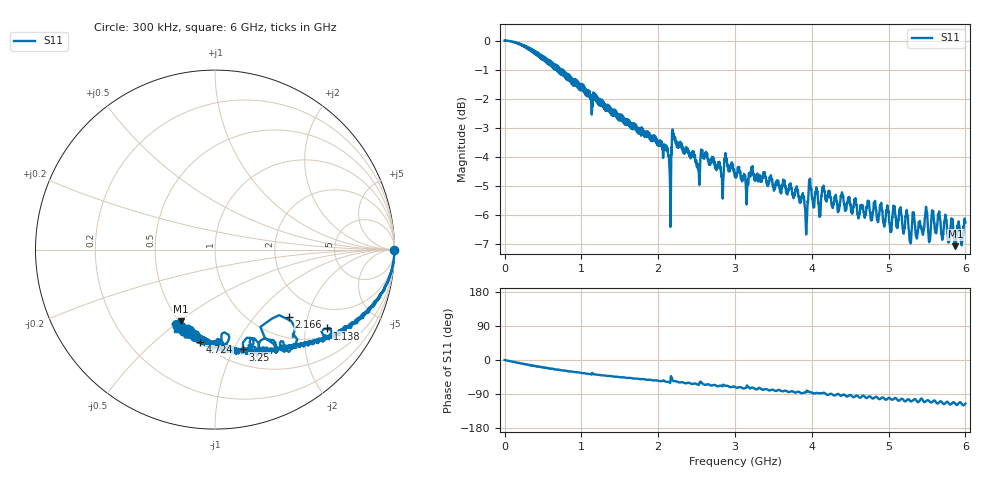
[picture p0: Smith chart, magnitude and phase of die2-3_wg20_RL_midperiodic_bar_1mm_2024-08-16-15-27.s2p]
!Keysight Technologies,P9374A,MY57304198,A.17.20.09
!Date: Friday, August 16, 2024 15:27:55
!Correction: S11(C  1-Port  )
!S21(C  1-Port  )
!S12(Off)
!S22(Off)
!S2P File: Measurements: S11, S21, S12, S22:
# Hz S  dB  R 50
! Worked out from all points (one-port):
!   6000 points, 300 kHz to 6 GHz, reference 50 ohm
!   lowest |S11| = -7.1 dB at 5.869 GHz (marker M1), VSWR 2.59, Z = 25.4 - j25.3 ohm
!   |S11| at or under -10 dB: nowhere
!   S11 on the Smith chart (normalised r, x): 300 kHz: open; 1.138 GHz: 1.25, -2.63; 2.166 GHz: 1.41, -1.54; 3.25 GHz: 0.65, -1.09; 4.724 GHz: 0.50, -0.72; 6 GHz: 0.46, -0.54
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300000  -0.00 -0.0  -200.00 45.0  -200.00 45.0  -200.00 45.0
4.903572e8  -0.52 -18.9  -200.00 45.0  -200.00 45.0  -200.00 45.0
1.000417e9  -1.70 -34.4  -200.00 45.0  -200.00 45.0  -200.00 45.0
1.138433e9  -2.34 -35.1  -200.00 45.0  -200.00 45.0  -200.00 45.0
2.000533e9  -3.61 -54.8  -200.00 45.0  -200.00 45.0  -200.00 45.0
2.132549e9  -3.97 -57.6  -200.00 45.0  -200.00 45.0  -200.00 45.0
2.165553e9  -5.08 -42.5  -200.00 45.0  -200.00 45.0  -200.00 45.0
2.195556e9  -3.30 -55.3  -200.00 45.0  -200.00 45.0  -200.00 45.0
2.276566e9  -3.65 -59.3  -200.00 45.0  -200.00 45.0  -200.00 45.0
2.526595e9  -4.40 -65.9  -200.00 45.0  -200.00 45.0  -200.00 45.0
2.5686e9  -3.82 -60.6  -200.00 45.0  -200.00 45.0  -200.00 45.0
2.686613e9  -4.08 -67.6  -200.00 45.0  -200.00 45.0  -200.00 45.0
3.00065e9  -4.66 -71.1  -200.00 45.0  -200.00 45.0  -200.00 45.0
3.249679e9  -4.77 -74.4  -200.00 45.0  -200.00 45.0  -200.00 45.0
3.798743e9  -5.11 -85.4  -200.00 45.0  -200.00 45.0  -200.00 45.0
3.924758e9  -6.59 -85.1  -200.00 45.0  -200.00 45.0  -200.00 45.0
4.000767e9  -5.36 -85.7  -200.00 45.0  -200.00 45.0  -200.00 45.0
4.723851e9  -5.65 -99.3  -200.00 45.0  -200.00 45.0  -200.00 45.0
5.000883e9  -5.94 -100.0  -200.00 45.0  -200.00 45.0  -200.00 45.0
5.580951e9  -5.87 -108.5  -200.00 45.0  -200.00 45.0  -200.00 45.0
5.868985e9  -7.07 -115.6  -200.00 45.0  -200.00 45.0  -200.00 45.0
6e9  -6.26 -115.0  -200.00 45.0  -200.00 45.0  -200.00 45.0
